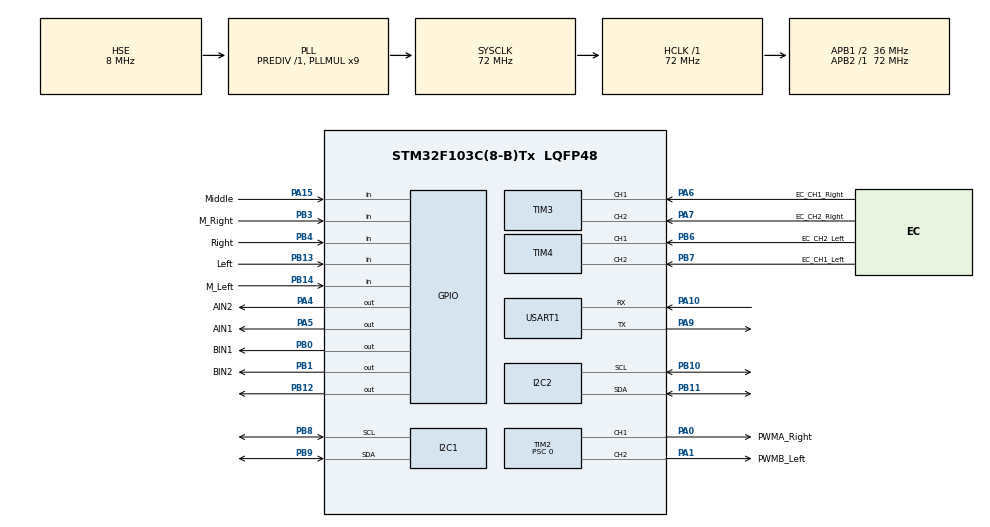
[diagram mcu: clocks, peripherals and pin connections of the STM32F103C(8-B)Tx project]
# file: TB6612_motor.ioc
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Dma.Request0=USART1_RX
Dma.USART1_RX.0.Direction=DMA_PERIPH_TO_MEMORY
Dma.USART1_RX.0.Instance=DMA1_Channel5
Dma.USART1_RX.0.MemDataAlignment=DMA_MDATAALIGN_BYTE
Dma.USART1_RX.0.MemInc=DMA_MINC_ENABLE
Dma.USART1_RX.0.Mode=DMA_NORMAL
Dma.USART1_RX.0.PeriphDataAlignment=DMA_PDATAALIGN_BYTE
Dma.USART1_RX.0.PeriphInc=DMA_PINC_DISABLE
Dma.USART1_RX.0.Priority=DMA_PRIORITY_LOW
Mcu.Family=STM32F1
Mcu.Name=STM32F103C(8-B)Tx
Mcu.Package=LQFP48
NVIC.DMA1_Channel5_IRQn=true\:0\:0\:false\:false\:true\:false\:true\:true
NVIC.PriorityGroup=NVIC_PRIORITYGROUP_4
NVIC.TIM1_UP_IRQn=true\:0\:0\:false\:false\:true\:true\:true\:true
NVIC.USART1_IRQn=true\:0\:0\:false\:false\:true\:true\:true\:true
PA0-WKUP.GPIO_Label=PWMA_Right
PA0-WKUP.Signal=S_TIM2_CH1_ETR
PA1.GPIO_Label=PWMB_Left
PA1.Signal=S_TIM2_CH2
PA10.Mode=Asynchronous
PA10.Signal=USART1_RX
PA13.Mode=Serial_Wire
PA13.Signal=SYS_JTMS-SWDIO
PA14.Mode=Serial_Wire
PA14.Signal=SYS_JTCK-SWCLK
PA15.GPIO_Label=Middle
PA15.Signal=GPIO_Input
PA4.GPIO_Label=AIN2
PA4.Signal=GPIO_Output
PA5.GPIO_Label=AIN1
PA5.Signal=GPIO_Output
PA6.GPIO_Label=EC_CH1_Right
PA6.Signal=S_TIM3_CH1
PA7.GPIO_Label=EC_CH2_Right
PA7.Signal=S_TIM3_CH2
PA9.Mode=Asynchronous
PA9.Signal=USART1_TX
PB0.GPIO_Label=BIN1
PB0.Signal=GPIO_Output
PB1.GPIO_Label=BIN2
PB1.Signal=GPIO_Output
PB10.Mode=I2C
PB10.Signal=I2C2_SCL
PB11.Mode=I2C
PB11.Signal=I2C2_SDA
PB12.PinState=GPIO_PIN_SET
PB12.Signal=GPIO_Output
PB13.GPIO_Label=Left
PB13.Signal=GPIO_Input
PB14.GPIO_Label=M_Left
PB14.Signal=GPIO_Input
PB3.GPIO_Label=M_Right
PB3.Signal=GPIO_Input
PB4.GPIO_Label=Right
PB4.Signal=GPIO_Input
PB6.GPIO_Label=EC_CH2_Left
PB6.Signal=S_TIM4_CH1
PB7.GPIO_Label=EC_CH1_Left
PB7.Signal=S_TIM4_CH2
PB8.Mode=I2C
PB8.Signal=I2C1_SCL
PB9.Mode=I2C
PB9.Signal=I2C1_SDA
PD0-OSC_IN.Mode=HSE-External-Oscillator
PD0-OSC_IN.Signal=RCC_OSC_IN
PD1-OSC_OUT.Mode=HSE-External-Oscillator
PD1-OSC_OUT.Signal=RCC_OSC_OUT
ProjectManager.HeapSize=0x200
ProjectManager.StackSize=0x400
ProjectManager.TargetToolchain=STM32CubeIDE
RCC.AHBFreq_Value=72000000
RCC.APB1CLKDivider=RCC_HCLK_DIV2
RCC.APB1Freq_Value=36000000
RCC.APB1TimFreq_Value=72000000
RCC.APB2Freq_Value=72000000
RCC.APB2TimFreq_Value=72000000
RCC.HCLKFreq_Value=72000000
RCC.PLLMUL=RCC_PLL_MUL9
RCC.PLLSourceVirtual=RCC_PLLSOURCE_HSE
RCC.SYSCLKFreq_VALUE=72000000
RCC.SYSCLKSource=RCC_SYSCLKSOURCE_PLLCLK
RCC.USBFreq_Value=72000000
SH.S_TIM2_CH1_ETR.0=TIM2_CH1,PWM Generation1 CH1
SH.S_TIM2_CH2.0=TIM2_CH2,PWM Generation2 CH2
SH.S_TIM3_CH1.0=TIM3_CH1,Encoder_Interface
SH.S_TIM3_CH2.0=TIM3_CH2,Encoder_Interface
SH.S_TIM4_CH1.0=TIM4_CH1,Encoder_Interface
SH.S_TIM4_CH2.0=TIM4_CH2,Encoder_Interface
TIM1.AutoReloadPreload=TIM_AUTORELOAD_PRELOAD_ENABLE
TIM1.Period=10000 - 1
TIM1.Prescaler=72 - 1
TIM2.AutoReloadPreload=TIM_AUTORELOAD_PRELOAD_ENABLE
TIM2.Channel-PWM\ Generation1\ CH1=TIM_CHANNEL_1
TIM2.Channel-PWM\ Generation2\ CH2=TIM_CHANNEL_2
TIM2.Period=1440 - 1
TIM2.Prescaler=0
TIM3.AutoReloadPreload=TIM_AUTORELOAD_PRELOAD_ENABLE
TIM3.EncoderMode=TIM_ENCODERMODE_TI12
TIM3.IC1Filter=8
TIM3.IC2Filter=8
TIM4.AutoReloadPreload=TIM_AUTORELOAD_PRELOAD_ENABLE
TIM4.EncoderMode=TIM_ENCODERMODE_TI12
TIM4.IC1Filter=8
TIM4.IC2Filter=8
USART1.VirtualMode=VM_ASYNC
VP_TIM1_VS_ClockSourceINT.Mode=Internal
VP_TIM2_VS_ClockSourceINT.Mode=Internal
board=custom

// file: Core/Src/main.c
/* USER CODE BEGIN Header */
/**
  ******************************************************************************
  * @file           : main.c
  * @brief          : Main program body
  ******************************************************************************
  * @attention
  *
  * Copyright (c) 2026 STMicroelectronics.
  * All rights reserved.
  *
  * This software is licensed under terms that can be found in the LICENSE file
  * in the root directory of this software component.
  * If no LICENSE file comes with this software, it is provided AS-IS.
  *
  ******************************************************************************
  */
/* USER CODE END Header */
#include "main.h"
#include "dma.h"
#include "i2c.h"
#include "tim.h"
#include "usart.h"
#include "gpio.h"

/* USER CODE BEGIN Includes */
#include "tb6612.h"
#include "chassis.h"
#include "encoder.h"
#include "Close_line.h"
/* USER CODE END Includes */

/* USER CODE BEGIN PD */
/* 循迹时直线行驶的基础目标速度，保持原 main.c 中的 20 */
#define CLOSE_LINE_BASE_SPEED   20.0f
/* 循迹速度表的最大值，用于把原始查表速度等比例缩放到基础速度附近 */
#define CLOSE_LINE_TABLE_MAX    40.0f
/* 上电后先保持静止缓冲的时间，单位：毫秒 */
#define CLOSE_LINE_BUFFER_MS    2000U
/* 循迹运动持续时间，单位：毫秒 */
#define CLOSE_LINE_RUN_MS       100000U
/* 循迹状态采集和控制周期，单位：毫秒 */
#define CLOSE_LINE_PERIOD_MS    10U

/* USER CODE END PD */

void SystemClock_Config(void);

int main(void)
{

  /* MCU Configuration--------------------------------------------------------*/

  /* Reset of all peripherals, Initializes the Flash interface and the Systick. */
  HAL_Init();

  /* Configure the system clock */
  SystemClock_Config();

  /* Initialize all configured peripherals */
  MX_GPIO_Init();
  MX_DMA_Init();
  MX_TIM2_Init();
  MX_TIM3_Init();
  MX_TIM4_Init();
  MX_I2C2_Init();
  MX_I2C1_Init();
  MX_USART1_UART_Init();
  MX_TIM1_Init();
  /* USER CODE BEGIN 2 */
  /* 初始化 TB6612 电机驱动，启动左右电机 PWM */
  TB6612_Init();

  /* 初始化左右轮 PID 控制器参数 */
  Chassis_Init();

  /* 启动左右轮编码器测速定时器 */
  Encoder_Init();

  /* 初始阶段让左右轮目标速度都为 0，保证小车静止 */
  target_speed_left  = 0.0f;
  target_speed_right = 0.0f;

  /* 启动 TIM1 中断，周期执行编码器更新和底盘 PID 控制 */
  HAL_TIM_Base_Start_IT(&htim1);
  /* USER CODE END 2 */

  /* Infinite loop */
  /* USER CODE BEGIN WHILE */
  while (1)
  {
      /* 按控制周期计算整个运动过程中需要执行的控制次数 */
      uint32_t run_cycles = CLOSE_LINE_RUN_MS / CLOSE_LINE_PERIOD_MS;
      uint32_t i;
      /* 当前五路循迹传感器的状态位图 */
      uint8_t state;
      /* 查表得到的左右轮原始速度 */
      uint8_t left_speed;
      uint8_t right_speed;

      /* 上电缓冲阶段：保持左右轮停止 */
      target_speed_left  = 0.0f;
      target_speed_right = 0.0f;
      HAL_Delay(CLOSE_LINE_BUFFER_MS);

      /* 循迹运动阶段，每个控制周期根据传感器状态调整一次小车姿态 */
      for (i = 0; i < run_cycles; i++)
      {
          /* 读取五路传感器，得到当前压线状态 */
          state = CloseLine_ReadState();

          /* 根据压线状态查表，得到原始左右轮差速值 */
          CloseLine_GetSpeedPair(state, &left_speed, &right_speed);

          /* 将原始速度表按基础速度等比例缩放后，写入左右轮目标速度 */
          target_speed_left  = CLOSE_LINE_BASE_SPEED *
                               ((float)left_speed / CLOSE_LINE_TABLE_MAX);
          target_speed_right = CLOSE_LINE_BASE_SPEED *
                               ((float)right_speed / CLOSE_LINE_TABLE_MAX);

          /* 等待一个控制周期，期间 TIM1 中断会执行底盘 PID 控制 */
          HAL_Delay(CLOSE_LINE_PERIOD_MS);
      }

      /* 循迹运动结束后停止小车 */
      target_speed_left  = 0.0f;
      target_speed_right = 0.0f;

      /* 保持停车状态，防止主循环再次触发运动流程 */
      while (1)
      {
          HAL_Delay(10);
      }
    /* USER CODE END WHILE */

  }
}

void SystemClock_Config(void)
{
  RCC_OscInitTypeDef RCC_OscInitStruct = {0};
  RCC_ClkInitTypeDef RCC_ClkInitStruct = {0};

  /** Initializes the RCC Oscillators according to the specified parameters
  * in the RCC_OscInitTypeDef structure.
  */
  RCC_OscInitStruct.OscillatorType = RCC_OSCILLATORTYPE_HSE;
  RCC_OscInitStruct.HSEState = RCC_HSE_ON;
  RCC_OscInitStruct.HSEPredivValue = RCC_HSE_PREDIV_DIV1;
  RCC_OscInitStruct.HSIState = RCC_HSI_ON;
  RCC_OscInitStruct.PLL.PLLState = RCC_PLL_ON;
  RCC_OscInitStruct.PLL.PLLSource = RCC_PLLSOURCE_HSE;
  RCC_OscInitStruct.PLL.PLLMUL = RCC_PLL_MUL9;
  if (HAL_RCC_OscConfig(&RCC_OscInitStruct) != HAL_OK)
  {
    Error_Handler();
  }

  /** Initializes the CPU, AHB and APB buses clocks
  */
  RCC_ClkInitStruct.ClockType = RCC_CLOCKTYPE_HCLK|RCC_CLOCKTYPE_SYSCLK
                              |RCC_CLOCKTYPE_PCLK1|RCC_CLOCKTYPE_PCLK2;
  RCC_ClkInitStruct.SYSCLKSource = RCC_SYSCLKSOURCE_PLLCLK;
  RCC_ClkInitStruct.AHBCLKDivider = RCC_SYSCLK_DIV1;
  RCC_ClkInitStruct.APB1CLKDivider = RCC_HCLK_DIV2;
  RCC_ClkInitStruct.APB2CLKDivider = RCC_HCLK_DIV1;

  if (HAL_RCC_ClockConfig(&RCC_ClkInitStruct, FLASH_LATENCY_2) != HAL_OK)
  {
    Error_Handler();
  }
}

/* USER CODE BEGIN 4 */

/**
  * @brief  TIM1 periodic control callback.
  */
void HAL_TIM_PeriodElapsedCallback(TIM_HandleTypeDef *htim)
{
    if (htim->Instance == TIM1)
    {
        /* 更新左右轮编码器实测速度 */
        Encoder_UpdateSpeed();

        /* 根据左右轮目标速度和实测速度执行 PID，并驱动 TB6612 */
        Chassis_UpdateTask(Encoder_Left.speed, Encoder_Right.speed);

        /* 上位机 VOFA 波形发送功能已关闭，保留原代码供以后恢复使用。
        {
            float vofa_data[4];
            vofa_data[0] = target_speed_left;
            vofa_data[1] = Encoder_Left.speed;
            vofa_data[2] = target_speed_right;
            vofa_data[3] = Encoder_Right.speed;
            VOFA_SendJustFloat(vofa_data, 4);
        }
        */
    }
}

/* USER CODE END 4 */

void Error_Handler(void)
{
  __disable_irq();
  while (1)
  {
  }
}
